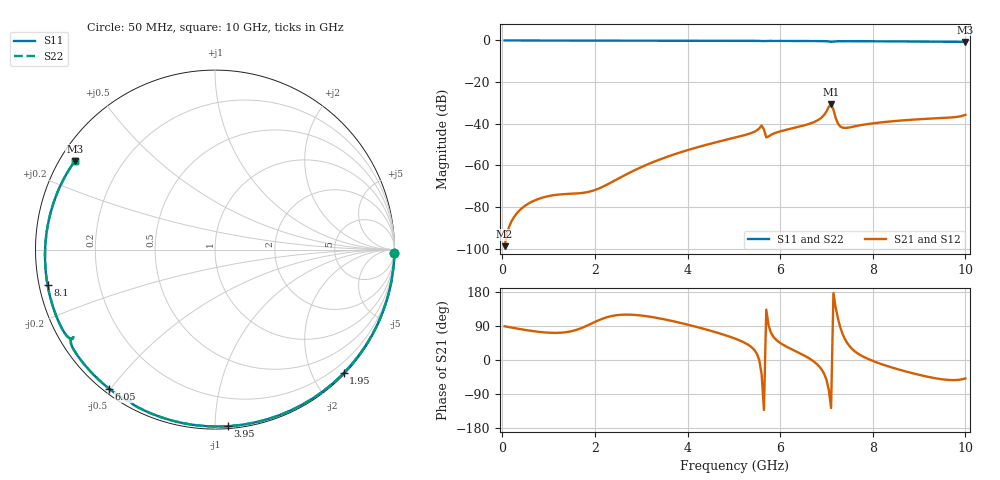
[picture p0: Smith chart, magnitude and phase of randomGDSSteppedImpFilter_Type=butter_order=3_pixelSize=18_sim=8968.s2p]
! freq	dB(S11)	phase(S11)	dB(S12)	phase(S12)
!  dB(S21)	phase(S21)	dB(S22)	phase(S22)
!S-par simulation data
#  GHz  S  DB  R 50
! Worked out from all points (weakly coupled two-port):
!   200 points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, 50 MHz to 10 GHz, reference 50 ohm
!   highest |S21| = -30.41 dB at 7.1 GHz (marker M1); lowest = -98.7 dB at 50 MHz (marker M2)
!   lowest |S11| = -0.7 dB at 10 GHz (marker M3), VSWR 25.04, Z = 2.16 + j14.4 ohm
!   |S11| at or under -10 dB: nowhere
!   |S22| runs from -0.7 to 0.0 dB; largest |S21 - S12| = 0
!   S11 on the Smith chart (normalised r, x): 50 MHz: open; 1.95 GHz: 0.02, -2.49; 3.95 GHz: 0.01, -1.07; 6.05 GHz: 0.02, -0.50; 8.1 GHz: 0.02, -0.10; 10 GHz: 0.04, +0.29
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0.05  -0.00 -1.2  -98.71 89.0  -98.71 89.0  -0.00 -1.2
0.45  -0.01 -10.3  -80.02 80.2  -80.02 80.2  -0.01 -10.3
0.95  -0.03 -21.6  -74.93 72.5  -74.93 72.5  -0.03 -21.6
1.75  -0.05 -39.4  -73.10 86.3  -73.10 86.3  -0.05 -39.4
1.95  -0.06 -43.8  -72.14 97.6  -72.14 97.6  -0.06 -43.8
3.4  -0.10 -74.6  -57.13 109.7  -57.13 109.7  -0.10 -74.6
3.95  -0.12 -85.9  -52.96 94.9  -52.96 94.9  -0.12 -85.9
5.05  -0.17 -107.8  -46.48 55.4  -46.48 55.4  -0.17 -107.8
5.45  -0.19 -115.8  -43.74 25.4  -43.74 25.4  -0.19 -115.8
5.6  -0.26 -119.0  -40.81 -38.1  -40.81 -38.1  -0.26 -119.0
5.65  -0.32 -119.3  -42.70 -131.9  -42.70 -131.9  -0.32 -119.3
5.7  -0.25 -120.1  -46.52 133.0  -46.52 133.0  -0.25 -120.1
6.05  -0.23 -127.3  -43.31 41.1  -43.31 41.1  -0.23 -127.3
6.7  -0.28 -140.2  -39.43 -1.6  -39.43 -1.6  -0.28 -140.2
6.9  -0.31 -144.4  -36.87 -25.9  -36.87 -25.9  -0.31 -144.5
7.1  -0.65 -148.3  -30.41 -126.7  -30.41 -126.7  -0.65 -148.3
7.25  -0.39 -150.0  -39.93 108.4  -39.93 108.4  -0.39 -150.0
7.35  -0.36 -152.3  -41.85 68.0  -41.85 68.0  -0.36 -152.3
8.1  -0.41 -168.0  -39.51 -7.0  -39.51 -7.0  -0.41 -168.1
8.35  -0.44 -173.4  -38.92 -17.4  -38.92 -17.4  -0.44 -173.4
9.2  -0.55 167.6  -37.55 -44.6  -37.55 -44.6  -0.55 167.6
10  -0.69 147.8  -35.66 -48.6  -35.66 -48.6  -0.69 147.8
